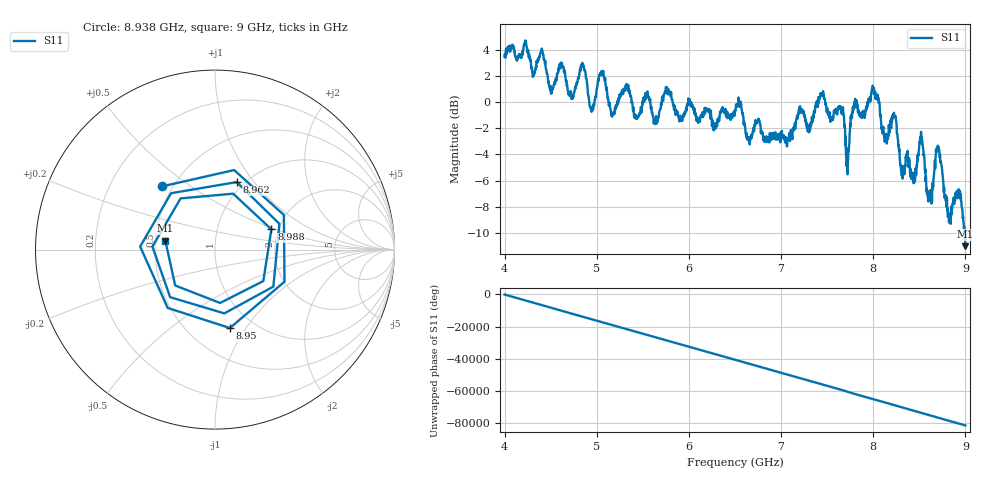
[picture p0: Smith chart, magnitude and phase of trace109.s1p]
! Created with skrf 1.8.0 (http://scikit-rf.org).
# Hz S RI R 50.0
!freq ReS11 ImS11
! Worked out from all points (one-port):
!   1601 points, 4 GHz to 9 GHz, reference 50 ohm
!   lowest |S11| = -11.0 dB at 9 GHz (marker M1), VSWR 1.78, Z = 28.2 + j3.05 ohm
!   |S11| at or under -10 dB: 8.991645 GHz to end of sweep
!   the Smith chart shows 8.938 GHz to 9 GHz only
!   S11 on the Smith chart (normalised r, x): 8.938 GHz: 0.44, +0.39; 8.95 GHz: 0.78, -0.85; 8.962 GHz: 0.92, +0.82; 8.988 GHz: 1.84, +0.47; 9 GHz: 0.56, +0.06
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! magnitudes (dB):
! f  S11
! 4 GHz  3.5
! 4.406 GHz  4.0
! 4.506 GHz  0.7
! 4.625 GHz  2.7
! 4.722 GHz  0.5
! 4.853 GHz  2.9
! 4.944 GHz  -0.5
! 5.047 GHz  2.3
! 5.169 GHz  -0.8
! 5.25 GHz  0.3
! 5.875 GHz  -0.7
! 6.5 GHz  -0.6
! 7.125 GHz  -2.3
! 7.441 GHz  0.7
! 7.656 GHz  -0.9
! 7.719 GHz  -5.5
! 7.75 GHz  -1.6
! 8.003 GHz  0.9
! 8.375 GHz  -4.3
! 8.525 GHz  -2.7
! 8.612 GHz  -7.2
! 8.703 GHz  -3.5
! 8.819 GHz  -8.5
! 8.938 GHz  -6.8
! 8.95 GHz  -7.0
! 8.962 GHz  -8.1
! 8.988 GHz  -9.5
! 9 GHz  -11.0
